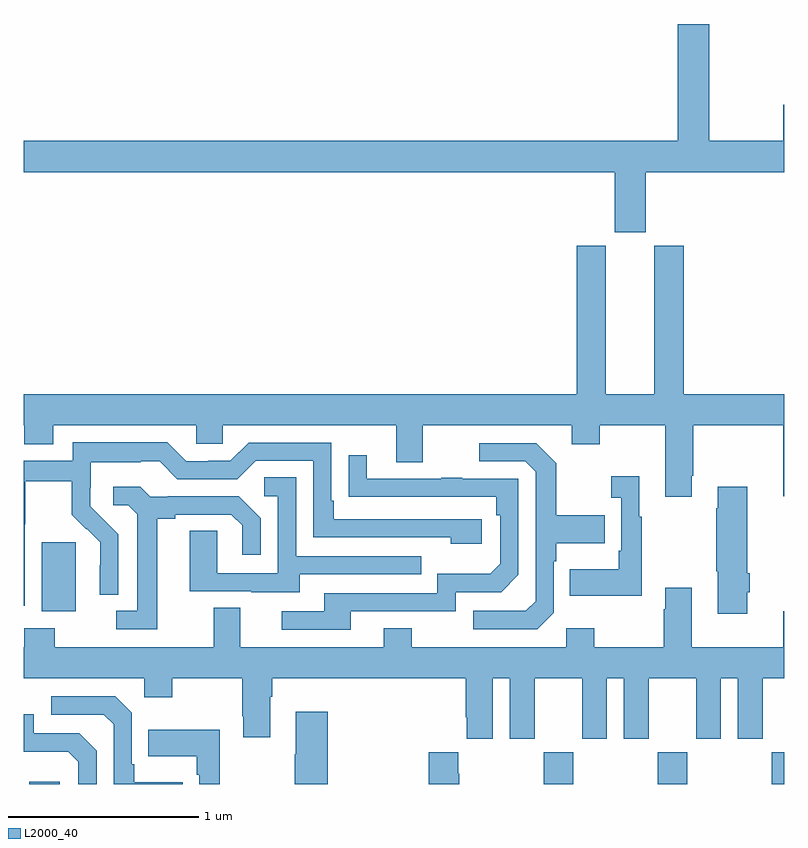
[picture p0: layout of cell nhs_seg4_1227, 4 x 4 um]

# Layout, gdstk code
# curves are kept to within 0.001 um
import gdstk
lib = gdstk.Library(unit=1e-6, precision=1e-09)
def R(c, l, rs):  # rectangles x0, y0, x1, y1
    for r in rs: c.add(gdstk.rectangle(r[:2], r[2:], *l))
def P(c, l, *ps):  # polygons
    for p in ps: c.add(gdstk.Polygon(p, *l))
L2000_40 = (2000, 40)

nhs_seg4_1227 = lib.new_cell('nhs_seg4_1227')
R(nhs_seg4_1227, L2000_40, [(173.027,826.9,173.188,826.912), (175.735,826.9,175.89,827.068), (176.335,826.9,176.49,827.068), (176.935,826.9,177,827.068), (173.093,827.81,173.272,828.171)])
P(nhs_seg4_1227, L2000_40, [(176.272,830.12),(177,830.12),(177,830.473),(176.996,830.473),(176.996,830.284),(176.605,830.284),(176.605,830.899),(176.441,830.899),(176.441,830.284),(173,830.284),(173,830.12),(176.108,830.12),(176.108,829.803),(176.272,829.803)],
  [(176.515,828.523),(176.523,828.523),(176.523,828.788),(176.996,828.788),(176.996,828.414),(177,828.414),(177,828.952),(176.471,828.952),(176.471,829.731),(176.318,829.731),(176.318,828.952),(176.062,828.952),(176.062,829.731),(175.91,829.731),(175.91,828.952),(173,828.952),(173,828.788),(173.003,828.788),(173.003,828.689),(173.155,828.689),(173.155,828.788),(173.907,828.788),(173.907,828.69),(174.045,828.69),(174.045,828.788),(174.959,828.788),(174.959,828.594),(175.099,828.594),(175.099,828.788),(175.883,828.788),(175.883,828.689),(176.031,828.689),(176.031,828.788),(176.375,828.788),(176.375,828.411),(176.515,828.411)],
  [(173.004,828.268),(173.007,828.268),(173.007,828.492),(173.251,828.492),(173.251,828.317),(173.328,828.24),(173.331,828.243),(173.402,828.173),(173.402,828.05),(173.4,828.05),(173.4,827.896),(173.496,827.896),(173.496,828.214),(173.35,828.362),(173.35,828.459),(173.352,828.459),(173.352,828.593),(173.615,828.593),(173.615,828.597),(173.715,828.597),(173.808,828.504),(174.123,828.504),(174.219,828.6),(174.522,828.6),(174.522,828.198),(175.247,828.198),(175.247,828.164),(175.408,828.164),(175.408,828.294),(174.631,828.294),(174.631,828.391),(174.618,828.391),(174.618,828.696),(174.183,828.696),(174.087,828.6),(173.969,828.6),(173.969,828.597),(173.853,828.597),(173.753,828.697),(173.256,828.697),(173.256,828.6),(173,828.6),(173,827.839),(173.004,827.839)],
  [(175.788,827.802),(175.788,828.071),(175.801,828.071),(175.801,828.167),(176.057,828.167),(176.057,828.315),(175.801,828.315),(175.801,828.587),(175.695,828.693),(175.395,828.693),(175.395,828.597),(175.638,828.597),(175.692,828.543),(175.692,827.862),(175.641,827.811),(175.365,827.811),(175.365,827.715),(175.701,827.715)],
  [(174.721,827.808),(175.272,827.808),(175.272,827.91),(175.512,827.91),(175.602,828),(175.602,828.507),(175.307,828.507),(175.307,828.512),(175.195,828.512),(175.195,828.507),(174.805,828.507),(174.805,828.631),(174.709,828.631),(174.709,828.412),(175.486,828.411),(175.486,828.314),(175.506,828.314),(175.506,828.06),(175.453,828.007),(175.176,828.007),(175.176,827.904),(174.581,827.904),(174.581,827.808),(174.357,827.808),(174.357,827.712),(174.721,827.712)],
  [(176.251,828.307),(176.239,828.307),(176.239,828.52),(176.091,828.52),(176.091,828.407),(176.142,828.407),(176.142,828.127),(176.13,828.127),(176.13,828.031),(175.873,828.031),(175.873,827.891),(176.251,827.891)],
  [(174.451,828.003),(175.091,828.003),(175.091,828.099),(174.432,828.099),(174.432,828.515),(174.264,828.515),(174.264,828.414),(174.336,828.414),(174.336,828.009),(174.018,828.009),(174.018,828.233),(173.873,828.233),(173.873,827.913),(174.197,827.913),(174.197,827.909),(174.451,827.909)],
  [(176.806,827.908),(176.819,827.908),(176.819,828.008),(176.806,828.008),(176.806,828.463),(176.651,828.463),(176.651,828.35),(176.644,828.35),(176.644,828.019),(176.651,828.019),(176.651,827.796),(176.806,827.796)],
  [(173.701,828.296),(173.797,828.296),(173.797,828.318),(174.092,828.318),(174.149,828.261),(174.149,828.105),(174.246,828.105),(174.246,828.298),(174.13,828.414),(173.758,828.414),(173.758,828.411),(173.664,828.411),(173.612,828.463),(173.469,828.463),(173.469,828.366),(173.55,828.366),(173.597,828.319),(173.597,827.811),(173.487,827.811),(173.487,827.715),(173.701,827.715)],
  [(175.041,827.719),(174.893,827.719),(174.893,827.62),(174.139,827.62),(174.139,827.828),(173.999,827.828),(173.999,827.62),(173.163,827.62),(173.163,827.719),(173.003,827.719),(173.003,827.62),(173,827.62),(173,827.456),(173.634,827.456),(173.634,827.357),(173.781,827.357),(173.781,827.456),(174.148,827.456),(174.148,827.257),(174.155,827.257),(174.155,827.145),(174.295,827.145),(174.295,827.36),(174.308,827.36),(174.308,827.456),(175.325,827.456),(175.325,827.251),(175.331,827.251),(175.331,827.139),(175.468,827.139),(175.468,827.456),(175.556,827.456),(175.556,827.139),(175.687,827.139),(175.687,827.456),(175.937,827.456),(175.937,827.139),(176.068,827.139),(176.068,827.456),(176.156,827.456),(176.156,827.139),(176.287,827.139),(176.287,827.456),(176.537,827.456),(176.537,827.139),(176.668,827.139),(176.668,827.456),(176.756,827.456),(176.756,827.139),(176.887,827.139),(176.887,827.456),(177,827.456),(177,827.809),(176.996,827.809),(176.996,827.62),(176.515,827.62),(176.515,827.932),(176.375,827.932),(176.375,827.819),(176.368,827.819),(176.368,827.62),(176.001,827.62),(176.001,827.719),(175.854,827.719),(175.854,827.62),(175.041,827.62)],
  [(173.837,826.909),(173.581,826.909),(173.581,827.005),(173.568,827.005),(173.568,827.274),(173.481,827.361),(173.145,827.361),(173.145,827.265),(173.421,827.265),(173.472,827.214),(173.472,826.9),(173.837,826.9)],
  [(174.599,827.281),(174.431,827.281),(174.431,827.057),(174.424,827.057),(174.424,826.9),(174.599,826.9)],
  [(173.382,827.076),(173.292,827.166),(173.052,827.166),(173.052,827.268),(173,827.268),(173,827.069),(173.233,827.069),(173.286,827.016),(173.286,826.9),(173.382,826.9)],
  [(174.031,827.185),(173.653,827.185),(173.653,827.045),(173.91,827.045),(173.91,826.949),(173.922,826.949),(173.922,826.9),(174.031,826.9)],
  [(175.29,826.955),(175.285,826.955),(175.285,827.068),(175.13,827.068),(175.13,826.9),(175.29,826.9)])

lib.write_gds('nhs_seg4_1227.gds')
